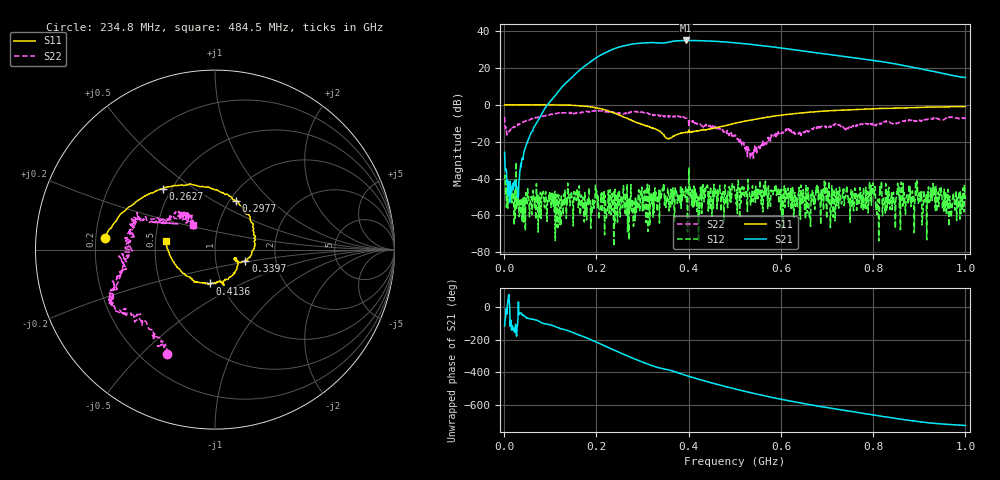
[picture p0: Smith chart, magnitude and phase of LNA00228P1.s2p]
! Created with skrf 1.9.0 (http://scikit-rf.org).
# Hz S RI R 50.0
!freq ReS11 ImS11 ReS21 ImS21 ReS12 ImS12 ReS22 ImS22
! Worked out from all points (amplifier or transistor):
!   1001 points, 1 MHz to 1 GHz, reference 50 ohm
!   highest |S21| = 34.8 dB at 394.6 MHz (marker M1)
!   |S21| within 3 dB of that: 258.3 MHz to 565.7 MHz (307.4 MHz wide, 74.6 % of centre)
!   unconditionally stable (mu >= 1): start of sweep to 89.75 MHz; 211.9 MHz to 400.2 MHz; 400.9 MHz to end of sweep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
!   at 166.8 MHz: K = 0.77, MSG = 34.2 dB, |S12| = -48.9 dB
!   at 500.5 MHz: K = 2.11, MAG = 34.2 dB, |S12| = -46.8 dB
!   at 1 GHz: K = 4.98, MAG = 22.9 dB, |S12| = -51.0 dB
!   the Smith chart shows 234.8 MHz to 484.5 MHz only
!   S11 on the Smith chart (normalised r, x): 234.8 MHz: 0.24, +0.05; 262.7 MHz: 0.45, +0.38; 297.7 MHz: 1.07, +0.64; 339.7 MHz: 1.39, -0.18; 413.6 MHz: 0.88, -0.35; 484.5 MHz: 0.57, +0.06
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1000000  0.989 4.9e-05  -0.0223 -0.0458  -0.00953 -0.00232  0.3323 0.3255
1.08892e8  0.5058 -0.853  -0.7827 -1.479  0.000975 0.000783  0.4193 -0.3629
1.67833e8  -0.256 -0.8892  -9.599 -0.5855  -0.00226 -0.00258  0.0419 -0.6339
2.06794e8  -0.6755 -0.4103  -15.58 14.52  0.000233 0.00139  -0.158 -0.6599
2.34766e8  -0.6152 0.0672  -5.839 31.05  0.00238 -0.00134  -0.2698 -0.5789
2.62738e8  -0.2894 0.3374  16.51 36.45  0.000985 -0.0039  -0.4247 -0.3801
2.97703e8  0.1185 0.2726  42.46 19.62  0.00272 0.00195  -0.5688 -0.2478
3.16684e8  0.214 0.1212  47.91 4.232  -0.00144 0.00251  -0.5377 -0.1451
3.34666e8  0.1985 -0.0345  46.37 -9.346  -0.00158 0.00245  -0.5094 -0.0495
3.39661e8  0.1694 -0.0621  45.21 -11.88  -0.00024 0.00299  -0.5106 -0.0365
3.67633e8  0.1255 -0.067  43.68 -29.59  0.00192 0.00429  -0.4743 0.1414
3.94606e8  0.0675 -0.1668  28.08 -47.47  0.00155 0.00343  -0.4004 0.1667
4.13587e8  -0.0264 -0.1884  13.61 -52.91  0.00421 0.00376  -0.267 0.1557
4.45555e8  -0.1735 -0.1334  -10.23 -52.1  0.00235 0.00134  -0.1748 0.199
4.84516e8  -0.2742 0.0476  -32.1 -37.92  0.00122 0.00106  -0.1235 0.1383
5.005e8  -0.2836 0.1358  -37.58 -29.58  -0.00202 0.00407  -0.0923 0.1153
5.4046e8  -0.1984 0.3412  -41.5 -8.46  -0.00122 -0.00306  -0.0346 0.00782
5.88412e8  0.0157 0.4963  -34.28 11.21  0.00158 -0.00545  -0.1433 -0.0842
6.67333e8  0.3983 0.4939  -13.02 22.86  0.000146 -0.00254  -0.2188 -0.0254
7.53247e8  0.6749 0.2824  3.232 18.75  -0.001 -0.00386  -0.248 0.021
8.34166e8  0.7988 0.0165  9.844 9.556  -0.00539 0.00203  -0.3373 0.0225
1e9  0.7252 -0.5255  5.407 -0.4816  0.00168 0.00225  -0.3116 0.3123
